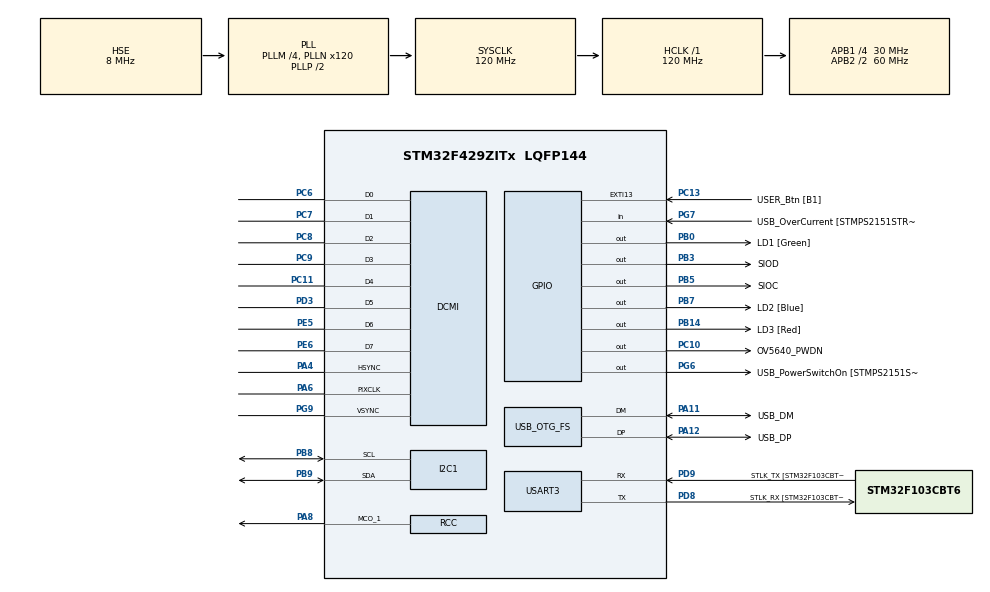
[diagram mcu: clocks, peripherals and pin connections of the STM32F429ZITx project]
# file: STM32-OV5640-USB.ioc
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DCMI.JPEGMode=DCMI_JPEG_ENABLE
DCMI.PCKPolarity=DCMI_PCKPOLARITY_RISING
Dma.DCMI.2.Direction=DMA_PERIPH_TO_MEMORY
Dma.DCMI.2.FIFOMode=DMA_FIFOMODE_ENABLE
Dma.DCMI.2.FIFOThreshold=DMA_FIFO_THRESHOLD_FULL
Dma.DCMI.2.Instance=DMA2_Stream1
Dma.DCMI.2.MemBurst=DMA_MBURST_SINGLE
Dma.DCMI.2.MemDataAlignment=DMA_MDATAALIGN_WORD
Dma.DCMI.2.MemInc=DMA_MINC_ENABLE
Dma.DCMI.2.Mode=DMA_CIRCULAR
Dma.DCMI.2.PeriphBurst=DMA_PBURST_SINGLE
Dma.DCMI.2.PeriphDataAlignment=DMA_PDATAALIGN_WORD
Dma.DCMI.2.PeriphInc=DMA_PINC_DISABLE
Dma.DCMI.2.Priority=DMA_PRIORITY_VERY_HIGH
Dma.Request0=USART3_TX
Dma.Request1=USART3_RX
Dma.Request2=DCMI
Dma.USART3_RX.1.Direction=DMA_PERIPH_TO_MEMORY
Dma.USART3_RX.1.FIFOMode=DMA_FIFOMODE_DISABLE
Dma.USART3_RX.1.Instance=DMA1_Stream1
Dma.USART3_RX.1.MemDataAlignment=DMA_MDATAALIGN_BYTE
Dma.USART3_RX.1.MemInc=DMA_MINC_ENABLE
Dma.USART3_RX.1.Mode=DMA_NORMAL
Dma.USART3_RX.1.PeriphDataAlignment=DMA_PDATAALIGN_BYTE
Dma.USART3_RX.1.PeriphInc=DMA_PINC_DISABLE
Dma.USART3_RX.1.Priority=DMA_PRIORITY_LOW
Dma.USART3_TX.0.Direction=DMA_MEMORY_TO_PERIPH
Dma.USART3_TX.0.FIFOMode=DMA_FIFOMODE_DISABLE
Dma.USART3_TX.0.Instance=DMA1_Stream3
Dma.USART3_TX.0.MemDataAlignment=DMA_MDATAALIGN_BYTE
Dma.USART3_TX.0.MemInc=DMA_MINC_ENABLE
Dma.USART3_TX.0.Mode=DMA_NORMAL
Dma.USART3_TX.0.PeriphDataAlignment=DMA_PDATAALIGN_BYTE
Dma.USART3_TX.0.PeriphInc=DMA_PINC_DISABLE
Dma.USART3_TX.0.Priority=DMA_PRIORITY_LOW
Mcu.Family=STM32F4
Mcu.Name=STM32F429ZITx
Mcu.Package=LQFP144
NVIC.DCMI_IRQn=true\:0\:0\:false\:false\:true\:true\:true\:true
NVIC.DMA1_Stream1_IRQn=true\:0\:0\:false\:false\:true\:false\:true\:true
NVIC.DMA1_Stream3_IRQn=true\:0\:0\:false\:false\:true\:false\:true\:true
NVIC.DMA2_Stream1_IRQn=true\:0\:0\:false\:false\:true\:false\:true\:true
NVIC.OTG_FS_IRQn=true\:0\:0\:false\:false\:true\:false\:true\:true
NVIC.PriorityGroup=NVIC_PRIORITYGROUP_4
NVIC.TIM8_TRG_COM_TIM14_IRQn=true\:15\:0\:false\:false\:true\:false\:true\:true
NVIC.TimeBase=TIM8_TRG_COM_TIM14_IRQn
NVIC.TimeBaseIP=TIM14
NVIC.USART3_IRQn=true\:0\:0\:false\:false\:true\:true\:true\:true
PA11.GPIO_Label=USB_DM
PA11.Mode=Device_Only
PA11.Signal=USB_OTG_FS_DM
PA12.GPIO_Label=USB_DP
PA12.Mode=Device_Only
PA12.Signal=USB_OTG_FS_DP
PA13.GPIO_Label=TMS
PA13.Mode=Serial_Wire
PA13.Signal=SYS_JTMS-SWDIO
PA14.GPIO_Label=TCK
PA14.Mode=Serial_Wire
PA14.Signal=SYS_JTCK-SWCLK
PA4.Mode=Slave_8_bits_External_Synchro
PA4.Signal=DCMI_HSYNC
PA6.Mode=Slave_8_bits_External_Synchro
PA6.Signal=DCMI_PIXCLK
PA8.GPIO_Speed=GPIO_SPEED_FREQ_VERY_HIGH
PA8.Mode=Clock-out-1
PA8.Signal=RCC_MCO_1
PB0.GPIO_Label=LD1 [Green]
PB0.Signal=GPIO_Output
PB14.GPIO_Label=LD3 [Red]
PB14.Signal=GPIO_Output
PB3.GPIO_Label=SIOD
PB3.GPIO_ModeDefaultOutputPP=GPIO_MODE_OUTPUT_OD
PB3.GPIO_PuPd=GPIO_NOPULL
PB3.GPIO_Speed=GPIO_SPEED_FREQ_VERY_HIGH
PB3.Signal=GPIO_Output
PB5.GPIO_Label=SIOC
PB5.GPIO_ModeDefaultOutputPP=GPIO_MODE_OUTPUT_OD
PB5.GPIO_PuPd=GPIO_PULLUP
PB5.GPIO_Speed=GPIO_SPEED_FREQ_VERY_HIGH
PB5.PinState=GPIO_PIN_SET
PB5.Signal=GPIO_Output
PB7.GPIO_Label=LD2 [Blue]
PB7.Signal=GPIO_Output
PB8.Mode=I2C
PB8.Signal=I2C1_SCL
PB9.Mode=I2C
PB9.Signal=I2C1_SDA
PC10.GPIO_Label=OV5640_PWDN
PC10.GPIO_Speed=GPIO_SPEED_FREQ_HIGH
PC10.PinState=GPIO_PIN_SET
PC10.Signal=GPIO_Output
PC11.Mode=Slave_8_bits_External_Synchro
PC11.Signal=DCMI_D4
PC13.GPIO_Label=USER_Btn [B1]
PC13.Signal=GPXTI13
PC14/OSC32_IN.Mode=LSE-External-Oscillator
PC14/OSC32_IN.Signal=RCC_OSC32_IN
PC15/OSC32_OUT.Mode=LSE-External-Oscillator
PC15/OSC32_OUT.Signal=RCC_OSC32_OUT
PC6.Mode=Slave_8_bits_External_Synchro
PC6.Signal=DCMI_D0
PC7.Mode=Slave_8_bits_External_Synchro
PC7.Signal=DCMI_D1
PC8.Mode=Slave_8_bits_External_Synchro
PC8.Signal=DCMI_D2
PC9.Mode=Slave_8_bits_External_Synchro
PC9.Signal=DCMI_D3
PD3.Mode=Slave_8_bits_External_Synchro
PD3.Signal=DCMI_D5
PD8.GPIO_Label=STLK_RX [STM32F103CBT6_PA3]
PD8.Mode=Asynchronous
PD8.Signal=USART3_TX
PD9.GPIO_Label=STLK_TX [STM32F103CBT6_PA2]
PD9.Mode=Asynchronous
PD9.Signal=USART3_RX
PE5.Mode=Slave_8_bits_External_Synchro
PE5.Signal=DCMI_D6
PE6.Mode=Slave_8_bits_External_Synchro
PE6.Signal=DCMI_D7
PG6.GPIO_Label=USB_PowerSwitchOn [STMPS2151STR_EN]
PG6.Signal=GPIO_Output
PG7.GPIO_Label=USB_OverCurrent [STMPS2151STR_FAULT]
PG7.Signal=GPIO_Input
PG9.Mode=Slave_8_bits_External_Synchro
PG9.Signal=DCMI_VSYNC
PH0/OSC_IN.GPIO_Label=MCO [STM32F103CBT6_PA8]
PH0/OSC_IN.Mode=HSE-External-Clock-Source
PH0/OSC_IN.Signal=RCC_OSC_IN
PH1/OSC_OUT.Mode=HSE-External-Clock-Source
PH1/OSC_OUT.Signal=RCC_OSC_OUT
ProjectManager.HeapSize=0x200
ProjectManager.StackSize=0x400
ProjectManager.TargetToolchain=STM32CubeIDE
RCC.48MHZClocksFreq_Value=48000000
RCC.AHBFreq_Value=120000000
RCC.APB1CLKDivider=RCC_HCLK_DIV4
RCC.APB1Freq_Value=30000000
RCC.APB1TimFreq_Value=60000000
RCC.APB2CLKDivider=RCC_HCLK_DIV2
RCC.APB2Freq_Value=60000000
RCC.APB2TimCLKDivider=2
RCC.APB2TimFreq_Value=120000000
RCC.CortexFreq_Value=120000000
RCC.HCLKFreq_Value=120000000
RCC.HSE_VALUE=8000000
RCC.HSI_VALUE=16000000
RCC.PLLM=4
RCC.PLLMUL=RCC_PLL_MUL9
RCC.PLLN=120
RCC.PLLQ=5
RCC.PRESCALERUSB=RCC_USBCLKSOURCE_PLL_DIV1_5
RCC.RCC_MCO1Source=RCC_MCO1SOURCE_PLLCLK
RCC.RCC_MCODiv1=RCC_MCODIV_5
RCC.SYSCLKFreq_VALUE=120000000
RCC.SYSCLKSource=RCC_SYSCLKSOURCE_PLLCLK
RCC.SYSCLKSourceVirtual=RCC_SYSCLKSOURCE_PLLCLK
RCC.USBFreq_Value=48000000
RCC.VCOOutputFreq_Value=240000000
USART3.VirtualMode=VM_ASYNC
USB_DEVICE.CLASS_NAME_FS=CDC
USB_DEVICE.VirtualMode-CDC_FS=Cdc
USB_DEVICE.VirtualModeFS=Cdc_FS
USB_OTG_FS.VirtualMode=Device_Only
VP_SYS_VS_tim14.Mode=TIM14
VP_USB_DEVICE_VS_USB_DEVICE_CDC_FS.Mode=CDC_FS
board=NUCLEO-F429ZI

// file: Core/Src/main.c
/* USER CODE BEGIN Header */
/**
  ******************************************************************************
  * @file           : main.c
  * @brief          : Main program body
  ******************************************************************************
  * @attention
  *
  * Copyright (c) 2024 STMicroelectronics.
  * All rights reserved.
  *
  * This software is licensed under terms that can be found in the LICENSE file
  * in the root directory of this software component.
  * If no LICENSE file comes with this software, it is provided AS-IS.
  *
  ******************************************************************************
  */
/* USER CODE END Header */
#include "main.h"
#include "usb_device.h"

/* USER CODE BEGIN Includes */
#include "logging.h"
#include "ov5647.h"
#include "i2c_func.h"
#include <stdio.h>
#include <string.h>

/* USER CODE END Includes */

DCMI_HandleTypeDef hdcmi;
DMA_HandleTypeDef hdma_dcmi;

I2C_HandleTypeDef hi2c1;

UART_HandleTypeDef huart3;
DMA_HandleTypeDef hdma_usart3_tx;
DMA_HandleTypeDef hdma_usart3_rx;

void SystemClock_Config(void);
static void MX_GPIO_Init(void);
static void MX_DMA_Init(void);
static void MX_DCMI_Init(void);
static void MX_I2C1_Init(void);
static void MX_USART3_UART_Init(void);

int main(void)
{

  /* MCU Configuration--------------------------------------------------------*/

  /* Reset of all peripherals, Initializes the Flash interface and the Systick. */
  HAL_Init();

  /* Configure the system clock */
  SystemClock_Config();

  /* Initialize all configured peripherals */
  MX_GPIO_Init();
  MX_DMA_Init();
  MX_DCMI_Init();
  MX_I2C1_Init();
  MX_USART3_UART_Init();
  MX_USB_DEVICE_Init();
  /* USER CODE BEGIN 2 */

  printf("\033c");

  printf("Duvitech LLC 2024 v0.01\r\n");
  printf("Initializing, please wait ...\r\n");

  HAL_GPIO_WritePin(OV5640_PWDN_GPIO_Port, OV5640_PWDN_Pin, GPIO_PIN_RESET);
  HAL_Delay(200);
  HAL_GPIO_WritePin(OV5640_PWDN_GPIO_Port, OV5640_PWDN_Pin, GPIO_PIN_SET);
  HAL_Delay(200);
  // I2C_scan();

  ov5647_detect();
  //ov5647_power_on();
  //ov5647_set_1080p();
  //ov5647_stream_on();

  //printf("Camera ID: %04X\r\n", OV5640_Read_ID());
#if 0
  while(OV5640_Init())
  {
          printf("OV5640 error, please check !\r\n");
          // BSP_LCD_Clear(LCD_COLOR_WHITE);
          // HAL_Delay(200);
          // BSP_LCD_DisplayStringAt(0, 60, (uint8_t *)"OV5640 error, please check !", CENTER_MODE);
          Error_Handler();
  }

  printf("Initialized OV5640\r\n");

  OV5640_RGB565_Mode();
  OV5640_Light_Mode(0);	   //set auto
  OV5640_Color_Saturation(3); //default
  OV5640_Brightness(4);	//default
  OV5640_Contrast(3);     //default
  OV5640_Sharpness(33);	//set auto

  jpeg_test(QVGA_320_240);
#endif

  /* USER CODE END 2 */

  /* Infinite loop */
  while (1)
  {

    /* USER CODE BEGIN 3 */
	  HAL_GPIO_TogglePin(LD1_GPIO_Port, LD1_Pin);
	  HAL_Delay(500);
  }
  /* USER CODE END 3 */
}

void SystemClock_Config(void)
{
  RCC_OscInitTypeDef RCC_OscInitStruct = {0};
  RCC_ClkInitTypeDef RCC_ClkInitStruct = {0};

  /** Configure the main internal regulator output voltage
  */
  __HAL_RCC_PWR_CLK_ENABLE();
  __HAL_PWR_VOLTAGESCALING_CONFIG(PWR_REGULATOR_VOLTAGE_SCALE3);

  /** Initializes the RCC Oscillators according to the specified parameters
  * in the RCC_OscInitTypeDef structure.
  */
  RCC_OscInitStruct.OscillatorType = RCC_OSCILLATORTYPE_HSE;
  RCC_OscInitStruct.HSEState = RCC_HSE_BYPASS;
  RCC_OscInitStruct.PLL.PLLState = RCC_PLL_ON;
  RCC_OscInitStruct.PLL.PLLSource = RCC_PLLSOURCE_HSE;
  RCC_OscInitStruct.PLL.PLLM = 4;
  RCC_OscInitStruct.PLL.PLLN = 120;
  RCC_OscInitStruct.PLL.PLLP = RCC_PLLP_DIV2;
  RCC_OscInitStruct.PLL.PLLQ = 5;
  if (HAL_RCC_OscConfig(&RCC_OscInitStruct) != HAL_OK)
  {
    Error_Handler();
  }

  /** Initializes the CPU, AHB and APB buses clocks
  */
  RCC_ClkInitStruct.ClockType = RCC_CLOCKTYPE_HCLK|RCC_CLOCKTYPE_SYSCLK
                              |RCC_CLOCKTYPE_PCLK1|RCC_CLOCKTYPE_PCLK2;
  RCC_ClkInitStruct.SYSCLKSource = RCC_SYSCLKSOURCE_PLLCLK;
  RCC_ClkInitStruct.AHBCLKDivider = RCC_SYSCLK_DIV1;
  RCC_ClkInitStruct.APB1CLKDivider = RCC_HCLK_DIV4;
  RCC_ClkInitStruct.APB2CLKDivider = RCC_HCLK_DIV2;

  if (HAL_RCC_ClockConfig(&RCC_ClkInitStruct, FLASH_LATENCY_3) != HAL_OK)
  {
    Error_Handler();
  }
  HAL_RCC_MCOConfig(RCC_MCO1, RCC_MCO1SOURCE_PLLCLK, RCC_MCODIV_5);
}

static void MX_DCMI_Init(void)
{

  hdcmi.Instance = DCMI;
  hdcmi.Init.SynchroMode = DCMI_SYNCHRO_HARDWARE;
  hdcmi.Init.PCKPolarity = DCMI_PCKPOLARITY_RISING;
  hdcmi.Init.VSPolarity = DCMI_VSPOLARITY_LOW;
  hdcmi.Init.HSPolarity = DCMI_HSPOLARITY_LOW;
  hdcmi.Init.CaptureRate = DCMI_CR_ALL_FRAME;
  hdcmi.Init.ExtendedDataMode = DCMI_EXTEND_DATA_8B;
  hdcmi.Init.JPEGMode = DCMI_JPEG_ENABLE;
  if (HAL_DCMI_Init(&hdcmi) != HAL_OK)
  {
    Error_Handler();
  }

}

static void MX_I2C1_Init(void)
{

  hi2c1.Instance = I2C1;
  hi2c1.Init.ClockSpeed = 100000;
  hi2c1.Init.DutyCycle = I2C_DUTYCYCLE_2;
  hi2c1.Init.OwnAddress1 = 0;
  hi2c1.Init.AddressingMode = I2C_ADDRESSINGMODE_7BIT;
  hi2c1.Init.DualAddressMode = I2C_DUALADDRESS_DISABLE;
  hi2c1.Init.OwnAddress2 = 0;
  hi2c1.Init.GeneralCallMode = I2C_GENERALCALL_DISABLE;
  hi2c1.Init.NoStretchMode = I2C_NOSTRETCH_DISABLE;
  if (HAL_I2C_Init(&hi2c1) != HAL_OK)
  {
    Error_Handler();
  }

  /** Configure Analogue filter
  */
  if (HAL_I2CEx_ConfigAnalogFilter(&hi2c1, I2C_ANALOGFILTER_ENABLE) != HAL_OK)
  {
    Error_Handler();
  }

  /** Configure Digital filter
  */
  if (HAL_I2CEx_ConfigDigitalFilter(&hi2c1, 0) != HAL_OK)
  {
    Error_Handler();
  }

}

static void MX_USART3_UART_Init(void)
{

  huart3.Instance = USART3;
  huart3.Init.BaudRate = 115200;
  huart3.Init.WordLength = UART_WORDLENGTH_8B;
  huart3.Init.StopBits = UART_STOPBITS_1;
  huart3.Init.Parity = UART_PARITY_NONE;
  huart3.Init.Mode = UART_MODE_TX_RX;
  huart3.Init.HwFlowCtl = UART_HWCONTROL_NONE;
  huart3.Init.OverSampling = UART_OVERSAMPLING_16;
  if (HAL_UART_Init(&huart3) != HAL_OK)
  {
    Error_Handler();
  }

}

static void MX_DMA_Init(void)
{

  /* DMA controller clock enable */
  __HAL_RCC_DMA1_CLK_ENABLE();
  __HAL_RCC_DMA2_CLK_ENABLE();

  /* DMA interrupt init */
  /* DMA1_Stream1_IRQn interrupt configuration */
  HAL_NVIC_SetPriority(DMA1_Stream1_IRQn, 0, 0);
  HAL_NVIC_EnableIRQ(DMA1_Stream1_IRQn);
  /* DMA1_Stream3_IRQn interrupt configuration */
  HAL_NVIC_SetPriority(DMA1_Stream3_IRQn, 0, 0);
  HAL_NVIC_EnableIRQ(DMA1_Stream3_IRQn);
  /* DMA2_Stream1_IRQn interrupt configuration */
  HAL_NVIC_SetPriority(DMA2_Stream1_IRQn, 0, 0);
  HAL_NVIC_EnableIRQ(DMA2_Stream1_IRQn);

}

static void MX_GPIO_Init(void)
{
  GPIO_InitTypeDef GPIO_InitStruct = {0};

  /* GPIO Ports Clock Enable */
  __HAL_RCC_GPIOE_CLK_ENABLE();
  __HAL_RCC_GPIOC_CLK_ENABLE();
  __HAL_RCC_GPIOH_CLK_ENABLE();
  __HAL_RCC_GPIOA_CLK_ENABLE();
  __HAL_RCC_GPIOB_CLK_ENABLE();
  __HAL_RCC_GPIOD_CLK_ENABLE();
  __HAL_RCC_GPIOG_CLK_ENABLE();

  /*Configure GPIO pin Output Level */
  HAL_GPIO_WritePin(GPIOB, LD1_Pin|LD3_Pin|SIOD_Pin|LD2_Pin, GPIO_PIN_RESET);

  /*Configure GPIO pin Output Level */
  HAL_GPIO_WritePin(USB_PowerSwitchOn_GPIO_Port, USB_PowerSwitchOn_Pin, GPIO_PIN_RESET);

  /*Configure GPIO pin Output Level */
  HAL_GPIO_WritePin(OV5640_PWDN_GPIO_Port, OV5640_PWDN_Pin, GPIO_PIN_SET);

  /*Configure GPIO pin Output Level */
  HAL_GPIO_WritePin(SIOC_GPIO_Port, SIOC_Pin, GPIO_PIN_SET);

  /*Configure GPIO pin : USER_Btn_Pin */
  GPIO_InitStruct.Pin = USER_Btn_Pin;
  GPIO_InitStruct.Mode = GPIO_MODE_IT_RISING;
  GPIO_InitStruct.Pull = GPIO_NOPULL;
  HAL_GPIO_Init(USER_Btn_GPIO_Port, &GPIO_InitStruct);

  /*Configure GPIO pins : LD1_Pin LD3_Pin LD2_Pin */
  GPIO_InitStruct.Pin = LD1_Pin|LD3_Pin|LD2_Pin;
  GPIO_InitStruct.Mode = GPIO_MODE_OUTPUT_PP;
  GPIO_InitStruct.Pull = GPIO_NOPULL;
  GPIO_InitStruct.Speed = GPIO_SPEED_FREQ_LOW;
  HAL_GPIO_Init(GPIOB, &GPIO_InitStruct);

  /*Configure GPIO pin : USB_PowerSwitchOn_Pin */
  GPIO_InitStruct.Pin = USB_PowerSwitchOn_Pin;
  GPIO_InitStruct.Mode = GPIO_MODE_OUTPUT_PP;
  GPIO_InitStruct.Pull = GPIO_NOPULL;
  GPIO_InitStruct.Speed = GPIO_SPEED_FREQ_LOW;
  HAL_GPIO_Init(USB_PowerSwitchOn_GPIO_Port, &GPIO_InitStruct);

  /*Configure GPIO pin : USB_OverCurrent_Pin */
  GPIO_InitStruct.Pin = USB_OverCurrent_Pin;
  GPIO_InitStruct.Mode = GPIO_MODE_INPUT;
  GPIO_InitStruct.Pull = GPIO_NOPULL;
  HAL_GPIO_Init(USB_OverCurrent_GPIO_Port, &GPIO_InitStruct);

  /*Configure GPIO pin : PA8 */
  GPIO_InitStruct.Pin = GPIO_PIN_8;
  GPIO_InitStruct.Mode = GPIO_MODE_AF_PP;
  GPIO_InitStruct.Pull = GPIO_NOPULL;
  GPIO_InitStruct.Speed = GPIO_SPEED_FREQ_VERY_HIGH;
  GPIO_InitStruct.Alternate = GPIO_AF0_MCO;
  HAL_GPIO_Init(GPIOA, &GPIO_InitStruct);

  /*Configure GPIO pin : OV5640_PWDN_Pin */
  GPIO_InitStruct.Pin = OV5640_PWDN_Pin;
  GPIO_InitStruct.Mode = GPIO_MODE_OUTPUT_PP;
  GPIO_InitStruct.Pull = GPIO_NOPULL;
  GPIO_InitStruct.Speed = GPIO_SPEED_FREQ_HIGH;
  HAL_GPIO_Init(OV5640_PWDN_GPIO_Port, &GPIO_InitStruct);

  /*Configure GPIO pin : SIOD_Pin */
  GPIO_InitStruct.Pin = SIOD_Pin;
  GPIO_InitStruct.Mode = GPIO_MODE_OUTPUT_OD;
  GPIO_InitStruct.Pull = GPIO_NOPULL;
  GPIO_InitStruct.Speed = GPIO_SPEED_FREQ_VERY_HIGH;
  HAL_GPIO_Init(SIOD_GPIO_Port, &GPIO_InitStruct);

  /*Configure GPIO pin : SIOC_Pin */
  GPIO_InitStruct.Pin = SIOC_Pin;
  GPIO_InitStruct.Mode = GPIO_MODE_OUTPUT_OD;
  GPIO_InitStruct.Pull = GPIO_PULLUP;
  GPIO_InitStruct.Speed = GPIO_SPEED_FREQ_VERY_HIGH;
  HAL_GPIO_Init(SIOC_GPIO_Port, &GPIO_InitStruct);

}

void HAL_TIM_PeriodElapsedCallback(TIM_HandleTypeDef *htim)
{
  if (htim->Instance == TIM14) {
    HAL_IncTick();
  }
}

void Error_Handler(void)
{
  /* USER CODE BEGIN Error_Handler_Debug */
  /* User can add his own implementation to report the HAL error return state */

  HAL_GPIO_WritePin(LD3_GPIO_Port, LD3_Pin, GPIO_PIN_SET);
  __disable_irq();
  while (1)
  {
  }
  /* USER CODE END Error_Handler_Debug */
}
